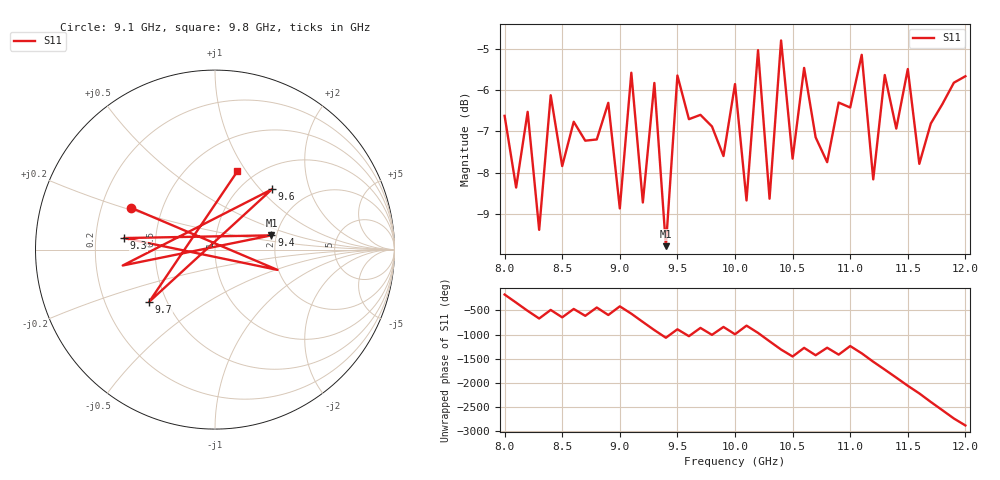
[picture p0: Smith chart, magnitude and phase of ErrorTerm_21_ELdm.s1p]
!  1-Port S-parameters saved by WinCal
! VAR NAME=2-Port SOLT labuser 3
! VAR Error Term Name=ELdm phys rcv port 2 phys src port 1
# Hz S RI R 50
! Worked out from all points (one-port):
!   41 points, 8 GHz to 12 GHz, reference 50 ohm
!   lowest |S11| = -9.8 dB at 9.4 GHz (marker M1), VSWR 1.96, Z = 93.9 + j16.7 ohm
!   |S11| at or under -10 dB: nowhere
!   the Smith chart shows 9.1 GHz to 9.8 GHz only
!   S11 on the Smith chart (normalised r, x): 9.1 GHz: 0.33, +0.21; 9.3 GHz: 0.32, +0.06; 9.4 GHz: 1.88, +0.33; 9.6 GHz: 1.36, +1.16; 9.7 GHz: 0.40, -0.30; 9.8 GHz: 0.83, +0.91
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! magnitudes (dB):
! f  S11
! 8 GHz  -6.6
! 8.2 GHz  -6.5
! 8.3 GHz  -9.4
! 8.4 GHz  -6.1
! 8.5 GHz  -7.8
! 8.9 GHz  -6.3
! 9 GHz  -8.9
! 9.1 GHz  -5.6
! 9.2 GHz  -8.7
! 9.3 GHz  -5.8
! 9.4 GHz  -9.8
! 9.5 GHz  -5.7
! 9.6 GHz  -6.7
! 9.7 GHz  -6.6
! 9.8 GHz  -6.9
! 10 GHz  -5.9
! 10.1 GHz  -8.7
! 10.2 GHz  -5.0
! 10.3 GHz  -8.6
! 10.4 GHz  -4.8
! 10.5 GHz  -7.7
! 10.6 GHz  -5.5
! 11 GHz  -6.4
! 11.1 GHz  -5.2
! 11.2 GHz  -8.2
! 11.5 GHz  -5.5
! 11.6 GHz  -7.8
! 12 GHz  -5.7
